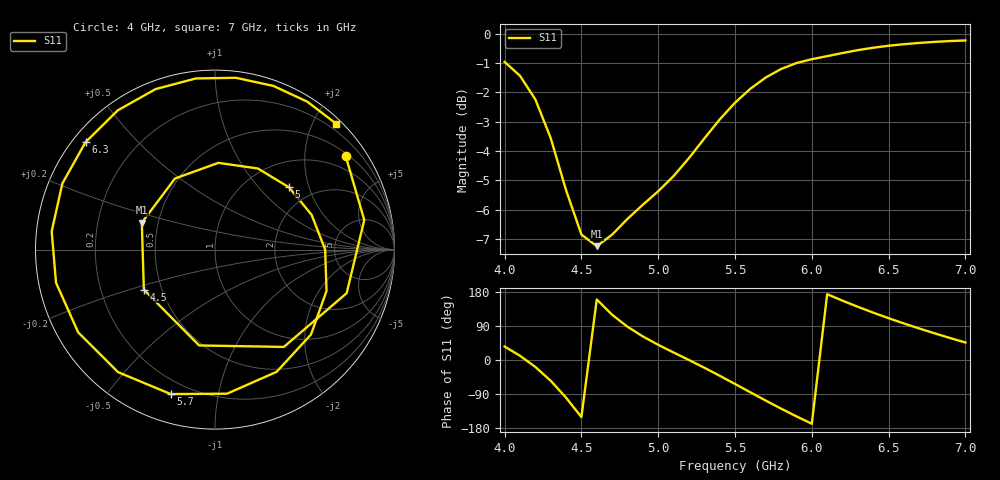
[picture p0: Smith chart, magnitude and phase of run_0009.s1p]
! Touchstone file exported from HFSS 2024.2.0
!  File:  C:/Users/wsak9/Desktop/Sim Fast/Widenad Patch/WP_AI_V1_sweep.aedt
!  Generated:  03:05:01 PM Oct 13, 2026
!  Design:  A1_model
!  Project:  WP_AI_V1_sweep
!  Setup:  Setup1
!  Solution:  Sweep
! Variables:
!  Air_gap = 3.18mm
!  Curve_Amp1 = 0.86
!  Curve_len1 = 1
!  Curve_pos = 12.435mm
!  Extra = 1.98mm
!  H_sub = 0.79mm
!  L_Patch = 20.87mm
!  L_Patch1 = 18.55mm
!  Sx = 3.93mm
!  Sy = 4.8mm
!  WS = 0.83mm
!  W_Patch = 13.2mm
!  W_Patch1 = 16.57mm
!Data is not renormalized
# GHz S MA
! Terminal data exported
! Port[1] = 1
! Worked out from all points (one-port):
!   31 points, 4 GHz to 7 GHz, reference per port
!   lowest |S11| = -7.2 dB at 4.6 GHz (marker M1), VSWR 2.54
!   |S11| at or under -10 dB: nowhere
!   S11 on the Smith chart (normalised r, x): 4 GHz: 0.58, +3.02; 4.5 GHz: 0.40, -0.22; 5 GHz: 1.52, +1.49; 5.7 GHz: 0.13, -0.73; 6.3 GHz: 0.04, +0.36; 7 GHz: 0.09, +2.35
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4  0.8949 35.5
4.1  0.8478 11.2
4.2  0.7727 -18.3
4.3  0.6641 -54.7
4.4  0.5413 -99.4
4.5  0.4548 -150.6
4.6  0.4345 159.8
4.7  0.4546 119.4
4.8  0.4836 87.8
4.9  0.5111 62.1
5  0.5389 40.1
5.2  0.6137 -0.0
5.3  0.6627 -20.3
5.4  0.714 -41.5
5.5  0.7627 -63.3
5.6  0.8057 -85.2
5.7  0.8419 -107.0
5.8  0.8705 -128.3
5.9  0.891 -148.8
6  0.9047 -168.2
6.1  0.9155 173.6
6.2  0.9268 156.6
6.3  0.9373 140.3
6.4  0.9462 124.9
6.5  0.9536 110.3
6.7  0.9643 83.1
6.8  0.9682 70.3
7  0.9736 46.1
